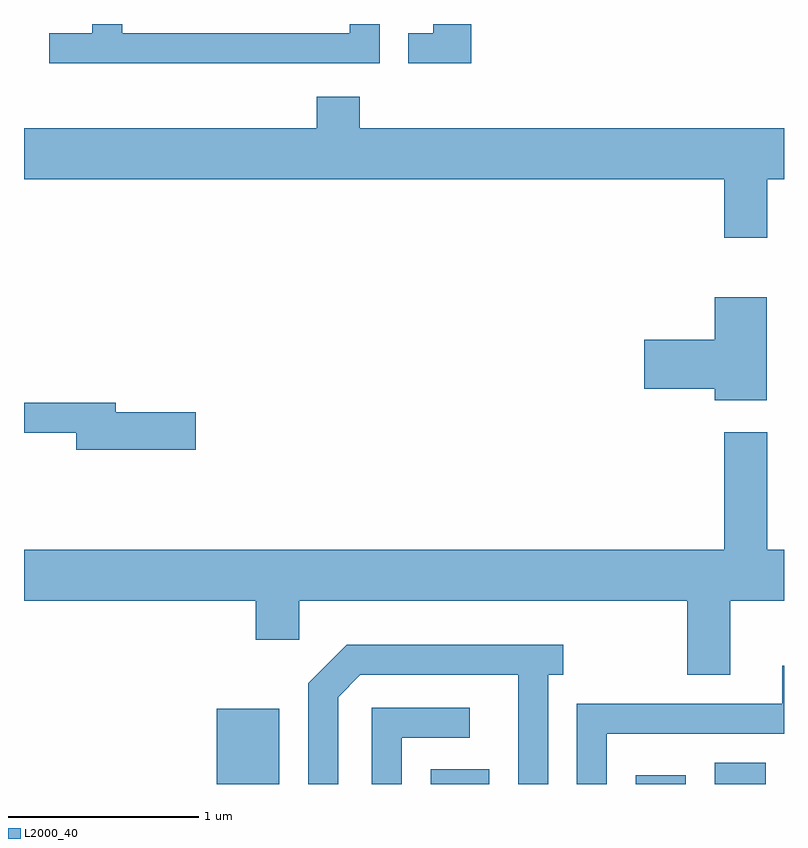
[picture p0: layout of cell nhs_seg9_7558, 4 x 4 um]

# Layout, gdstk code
import gdstk
lib = gdstk.Library(unit=1e-6, precision=1e-09)
def R(c, l, rs):  # rectangles x0, y0, x1, y1
    for r in rs: c.add(gdstk.rectangle(r[:2], r[2:], *l))
def P(c, l, *ps):  # polygons
    for p in ps: c.add(gdstk.Polygon(p, *l))
L2000_40 = (2000, 40)

nhs_seg9_7558 = lib.new_cell('nhs_seg9_7558')
R(nhs_seg9_7558, L2000_40, [(410.626,1966.432,410.954,1966.829), (411.751,1966.432,412.059,1966.509), (412.831,1966.432,413.094,1966.479), (413.246,1966.432,413.514,1966.544)])
P(nhs_seg9_7558, L2000_40, [(411.964,1970.432),(411.766,1970.432),(411.766,1970.384),(411.633,1970.384),(411.633,1970.226),(411.964,1970.226)],
  [(411.484,1970.432),(411.326,1970.432),(411.326,1970.384),(410.129,1970.384),(410.129,1970.432),(409.971,1970.432),(409.971,1970.384),(409.743,1970.384),(409.743,1970.226),(411.484,1970.226)],
  [(413.524,1969.616),(413.611,1969.616),(413.611,1969.884),(411.379,1969.884),(411.379,1970.049),(411.151,1970.049),(411.151,1969.884),(409.611,1969.884),(409.611,1969.616),(413.296,1969.616),(413.296,1969.306),(413.524,1969.306)],
  [(413.519,1968.994),(413.246,1968.994),(413.246,1968.769),(412.876,1968.769),(412.876,1968.511),(413.246,1968.511),(413.246,1968.451),(413.519,1968.451)],
  [(410.514,1968.389),(410.094,1968.389),(410.094,1968.439),(409.611,1968.439),(409.611,1968.281),(409.886,1968.281),(409.886,1968.191),(410.514,1968.191)],
  [(413.329,1967.396),(413.611,1967.396),(413.611,1967.664),(413.524,1967.664),(413.524,1968.284),(413.296,1968.284),(413.296,1967.664),(409.611,1967.664),(409.611,1967.396),(410.831,1967.396),(410.831,1967.191),(411.059,1967.191),(411.059,1967.396),(413.101,1967.396),(413.101,1967.006),(413.329,1967.006)],
  [(411.264,1966.889),(411.382,1967.006),(412.211,1967.006),(412.211,1966.432),(412.369,1966.432),(412.369,1967.006),(412.448,1967.006),(412.448,1967.164),(411.309,1967.164),(411.106,1966.962),(411.106,1966.432),(411.264,1966.432)],
  [(412.679,1966.696),(413.611,1966.696),(413.611,1967.054),(413.601,1967.054),(413.601,1966.854),(412.521,1966.854),(412.521,1966.432),(412.679,1966.432)],
  [(411.599,1966.676),(411.958,1966.676),(411.958,1966.834),(411.441,1966.834),(411.441,1966.432),(411.599,1966.432)])

lib.write_gds('nhs_seg9_7558.gds')
